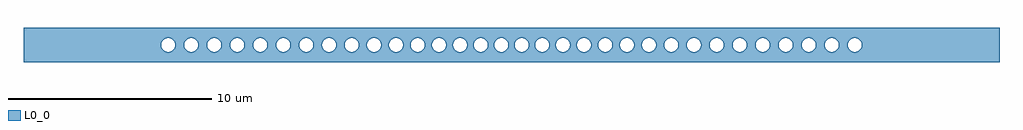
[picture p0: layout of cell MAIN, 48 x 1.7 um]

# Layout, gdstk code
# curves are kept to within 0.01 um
import gdstk
lib = gdstk.Library(unit=1e-6, precision=1e-09)
def P(c, l, *ps):  # polygons
    for p in ps: c.add(gdstk.Polygon(p, *l))
L0_0 = (0, 0)

main = lib.new_cell('MAIN')
P(main, L0_0, [(-16.917,-0.352),(-17.039,-0.318),(-17.144,-0.239),(-17.144,-0.85),(-16.917,-0.85)],
  [(-16.906,0.353),(-16.776,0.337),(-16.66,0.274),(-16.58,0.182),(-16.535,0.058),(-16.535,0.85),(-16.917,0.85),(-16.917,0.352)],
  [(-16.535,-0.058),(-16.58,-0.182),(-16.66,-0.274),(-16.776,-0.337),(-16.917,-0.352),(-16.917,-0.85),(-16.535,-0.85)],
  [(24,0.85),(17.146,0.85),(17.146,0.237),(17.207,0.144),(17.237,0.021),(17.215,-0.125),(17.146,-0.237),(17.146,-0.85),(24,-0.85)],
  [(-15.837,0.343),(-15.705,0.351),(-15.594,0.317),(-15.496,0.245),(-15.421,0.125),(-15.421,0.85),(-15.847,0.85),(-15.847,0.34)],
  [(-15.421,-0.125),(-15.496,-0.245),(-15.594,-0.317),(-15.726,-0.353),(-15.847,-0.34),(-15.847,-0.85),(-15.421,-0.85)],
  [(-16.105,0.003),(-16.087,0.112),(-16.036,0.21),(-15.948,0.294),(-15.847,0.34),(-15.847,0.85),(-16.535,0.85),(-16.53,0)],
  [(-14.769,0.32),(-14.642,0.353),(-14.511,0.337),(-14.395,0.274),(-14.316,0.182),(-14.316,0.85),(-14.779,0.85),(-14.779,0.315)],
  [(-14.316,-0.182),(-14.395,-0.274),(-14.521,-0.34),(-14.663,-0.351),(-14.779,-0.315),(-14.779,-0.85),(-14.316,-0.85)],
  [(-14.973,0.003),(-14.961,0.092),(-14.921,0.184),(-14.861,0.258),(-14.779,0.315),(-14.779,0.85),(-15.421,0.85),(-15.421,0.125),(-15.398,0)],
  [(-13.692,0.288),(-13.562,0.346),(-13.441,0.351),(-13.32,0.312),(-13.225,0.237),(-13.225,0.85),(-13.7,0.85)],
  [(-13.225,-0.237),(-13.32,-0.312),(-13.451,-0.352),(-13.577,-0.342),(-13.7,-0.282),(-13.7,-0.85),(-13.225,-0.85)],
  [(-13.84,0.003),(-13.802,0.161),(-13.7,0.282),(-13.7,0.85),(-14.316,0.85),(-14.316,0.182),(-14.278,0.094),(-14.266,0)],
  [(-12.611,0.243),(-12.505,0.32),(-12.377,0.353),(-12.246,0.337),(-12.139,0.28),(-12.139,0.85),(-12.615,0.85)],
  [(-12.139,-0.28),(-12.246,-0.337),(-12.377,-0.353),(-12.505,-0.32),(-12.615,-0.239),(-12.615,-0.85),(-12.139,-0.85)],
  [(-12.708,0.003),(-12.683,0.132),(-12.615,0.239),(-12.615,0.85),(-13.225,0.85),(-13.225,0.237),(-13.152,0.115),(-13.133,0)],
  [(-11.521,0.188),(-11.432,0.285),(-11.313,0.342),(-11.176,0.351),(-11.065,0.317),(-11.065,0.85),(-11.524,0.85)],
  [(-11.065,-0.317),(-11.176,-0.351),(-11.313,-0.342),(-11.432,-0.285),(-11.524,-0.184),(-11.524,-0.85),(-11.065,-0.85)],
  [(-11.576,0.003),(-11.564,0.092),(-11.524,0.184),(-11.524,0.85),(-12.139,0.85),(-12.139,0.28),(-12.036,0.154),(-12.001,0)],
  [(-10.421,0.132),(-10.346,0.247),(-10.243,0.32),(-10.115,0.353),(-9.994,0.34),(-9.994,0.85),(-10.423,0.85)],
  [(-9.994,-0.34),(-10.115,-0.353),(-10.243,-0.32),(-10.346,-0.247),(-10.423,-0.127),(-10.423,-0.85),(-9.994,-0.85)],
  [(-10.446,0.003),(-10.423,0.127),(-10.423,0.85),(-11.065,0.85),(-11.065,0.317),(-10.998,0.274),(-10.93,0.2),(-10.884,0.104),(-10.869,0)],
  [(-9.317,0.066),(-9.283,0.166),(-9.188,0.279),(-9.061,0.342),(-8.94,0.352),(-8.94,0.85),(-9.318,0.85)],
  [(-8.94,-0.352),(-9.061,-0.342),(-9.188,-0.279),(-9.283,-0.166),(-9.318,-0.061),(-9.318,-0.85),(-8.94,-0.85)],
  [(-9.324,0.003),(-9.318,0.85),(-9.994,0.85),(-9.994,0.34),(-9.894,0.293),(-9.813,0.217),(-9.758,0.115),(-9.739,0)],
  [(-8.212,0.003),(-8.189,0.127),(-8.116,0.243),(-8.014,0.318),(-7.892,0.352),(-7.892,0.85),(-8.617,0.85),(-8.617,-0.003)],
  [(-7.892,-0.352),(-8.014,-0.318),(-8.116,-0.243),(-8.183,-0.142),(-8.212,-0.003),(-8.617,-0.003),(-8.617,-0.85),(-7.892,-0.85)],
  [(-7.881,0.353),(-7.75,0.337),(-7.635,0.274),(-7.555,0.182),(-7.511,0.063),(-7.511,0.85),(-7.892,0.85),(-7.892,0.352)],
  [(-7.511,-0.063),(-7.555,-0.182),(-7.656,-0.29),(-7.776,-0.344),(-7.892,-0.352),(-7.892,-0.85),(-7.511,-0.85)],
  [(-8.617,0.85),(-8.94,0.85),(-8.94,0.352),(-8.813,0.317),(-8.711,0.241),(-8.637,0.12),(-8.617,0)],
  [(-6.846,0.343),(-6.715,0.351),(-6.594,0.312),(-6.509,0.249),(-6.43,0.125),(-6.43,0.85),(-6.856,0.85),(-6.856,0.34)],
  [(-6.43,-0.125),(-6.509,-0.249),(-6.594,-0.312),(-6.715,-0.351),(-6.856,-0.34),(-6.856,-0.85),(-6.43,-0.85)],
  [(-7.114,0.003),(-7.093,0.122),(-7.039,0.219),(-6.944,0.303),(-6.856,0.34),(-6.856,0.85),(-7.511,0.85),(-7.505,0)],
  [(-5.829,0.32),(-5.701,0.353),(-5.57,0.337),(-5.455,0.274),(-5.378,0.186),(-5.378,0.85),(-5.838,0.85)],
  [(-5.378,-0.186),(-5.455,-0.274),(-5.57,-0.337),(-5.701,-0.353),(-5.838,-0.315),(-5.838,-0.85),(-5.378,-0.85)],
  [(-6.032,0.003),(-6.019,0.097),(-5.975,0.193),(-5.921,0.258),(-5.838,0.315),(-5.838,0.85),(-6.43,0.85),(-6.43,0.125),(-6.407,0)],
  [(-4.818,0.288),(-4.688,0.346),(-4.567,0.351),(-4.446,0.312),(-4.351,0.237),(-4.351,0.85),(-4.826,0.85)],
  [(-4.351,-0.237),(-4.446,-0.312),(-4.577,-0.352),(-4.714,-0.339),(-4.826,-0.282),(-4.826,-0.85),(-4.351,-0.85)],
  [(-4.966,0.003),(-4.928,0.161),(-4.826,0.282),(-4.826,0.85),(-5.378,0.85),(-5.378,0.186),(-5.336,0.089),(-5.325,0)],
  [(-3.824,0.239),(-3.719,0.318),(-3.586,0.353),(-3.455,0.337),(-3.348,0.28),(-3.348,0.85),(-3.828,0.85)],
  [(-3.348,-0.28),(-3.455,-0.337),(-3.597,-0.352),(-3.719,-0.318),(-3.828,-0.235),(-3.828,-0.85),(-3.348,-0.85)],
  [(-3.917,0.003),(-3.894,0.127),(-3.828,0.235),(-3.828,0.85),(-4.351,0.85),(-4.351,0.237),(-4.278,0.115),(-4.259,0)],
  [(-2.829,0.188),(-2.748,0.279),(-2.631,0.339),(-2.505,0.353),(-2.373,0.317),(-2.373,0.85),(-2.832,0.85)],
  [(-2.373,-0.317),(-2.505,-0.353),(-2.631,-0.339),(-2.748,-0.279),(-2.832,-0.184),(-2.832,-0.85),(-2.373,-0.85)],
  [(-2.883,0.003),(-2.873,0.087),(-2.832,0.184),(-2.832,0.85),(-3.348,0.85),(-3.348,0.28),(-3.245,0.154),(-3.21,0)],
  [(-1.84,0.127),(-1.778,0.231),(-1.665,0.318),(-1.532,0.353),(-1.412,0.34),(-1.412,0.85),(-1.842,0.85)],
  [(-1.412,-0.34),(-1.532,-0.353),(-1.665,-0.318),(-1.778,-0.231),(-1.842,-0.122),(-1.842,-0.85),(-1.412,-0.85)],
  [(-1.863,0.003),(-1.842,0.122),(-1.842,0.85),(-2.373,0.85),(-2.373,0.317),(-2.29,0.26),(-2.232,0.191),(-2.195,0.115),(-2.176,0)],
  [(-0.848,0.066),(-0.803,0.184),(-0.719,0.279),(-0.602,0.339),(-0.47,0.352),(-0.47,0.85),(-0.849,0.85)],
  [(-0.47,-0.352),(-0.602,-0.339),(-0.719,-0.279),(-0.806,-0.179),(-0.849,-0.061),(-0.849,-0.85),(-0.47,-0.85)],
  [(-0.854,0.003),(-0.849,0.85),(-1.412,0.85),(-1.412,0.34),(-1.311,0.293),(-1.227,0.213),(-1.175,0.115),(-1.156,0)],
  [(0.147,0.003),(0.167,0.117),(0.24,0.239),(0.346,0.318),(0.468,0.352),(0.468,0.85),(-0.147,0.85),(-0.147,-0.003)],
  [(0.468,-0.352),(0.346,-0.318),(0.24,-0.239),(0.167,-0.117),(0.147,-0.003),(-0.147,-0.003),(-0.147,-0.85),(0.468,-0.85)],
  [(0.478,0.353),(0.609,0.337),(0.725,0.274),(0.799,0.191),(0.849,0.063),(0.849,0.85),(0.468,0.85),(0.468,0.352)],
  [(0.849,-0.063),(0.799,-0.191),(0.704,-0.29),(0.584,-0.344),(0.468,-0.352),(0.468,-0.85),(0.849,-0.85)],
  [(-0.147,0.85),(-0.47,0.85),(-0.47,0.352),(-0.348,0.319),(-0.242,0.241),(-0.166,0.115),(-0.147,0)],
  [(1.42,0.342),(1.556,0.351),(1.677,0.312),(1.769,0.241),(1.841,0.125),(1.841,0.85),(1.409,0.85),(1.409,0.339)],
  [(1.841,-0.125),(1.769,-0.241),(1.667,-0.317),(1.535,-0.353),(1.409,-0.339),(1.409,-0.85),(1.841,-0.85)],
  [(1.156,0.003),(1.176,0.117),(1.232,0.219),(1.309,0.291),(1.409,0.339),(1.409,0.85),(0.849,0.85),(0.854,0)],
  [(2.38,0.32),(2.507,0.353),(2.628,0.34),(2.754,0.274),(2.83,0.186),(2.83,0.85),(2.37,0.85),(2.37,0.315)],
  [(2.83,-0.186),(2.754,-0.274),(2.628,-0.34),(2.486,-0.351),(2.37,-0.315),(2.37,-0.85),(2.83,-0.85)],
  [(2.176,0.003),(2.188,0.092),(2.228,0.184),(2.288,0.258),(2.37,0.315),(2.37,0.85),(1.841,0.85),(1.841,0.125),(1.863,0)],
  [(3.354,0.285),(3.473,0.342),(3.61,0.351),(3.74,0.307),(3.826,0.237),(3.826,0.85),(3.346,0.85)],
  [(3.826,-0.237),(3.721,-0.317),(3.589,-0.353),(3.453,-0.336),(3.346,-0.279),(3.346,-0.85),(3.826,-0.85)],
  [(3.21,0.003),(3.246,0.156),(3.346,0.279),(3.346,0.85),(2.83,0.85),(2.83,0.186),(2.871,0.094),(2.883,0)],
  [(4.352,0.239),(4.458,0.318),(4.59,0.353),(4.711,0.34),(4.824,0.283),(4.824,0.85),(4.349,0.85)],
  [(4.824,-0.283),(4.711,-0.34),(4.569,-0.351),(4.448,-0.313),(4.349,-0.235),(4.349,-0.85),(4.824,-0.85)],
  [(4.259,0.003),(4.279,0.117),(4.349,0.235),(4.349,0.85),(3.826,0.85),(3.826,0.237),(3.895,0.125),(3.917,0)],
  [(5.38,0.188),(5.469,0.285),(5.588,0.342),(5.725,0.351),(5.836,0.317),(5.836,0.85),(5.377,0.85)],
  [(5.836,-0.317),(5.725,-0.351),(5.588,-0.342),(5.469,-0.285),(5.377,-0.184),(5.377,-0.85),(5.836,-0.85)],
  [(5.325,0.003),(5.337,0.092),(5.377,0.184),(5.377,0.85),(4.824,0.85),(4.824,0.283),(4.886,0.225),(4.934,0.149),(4.966,0)],
  [(6.431,0.127),(6.5,0.239),(6.596,0.313),(6.717,0.351),(6.854,0.341),(6.854,0.85),(6.429,0.85)],
  [(6.854,-0.341),(6.717,-0.351),(6.596,-0.313),(6.486,-0.223),(6.429,-0.122),(6.429,-0.85),(6.854,-0.85)],
  [(6.407,0.003),(6.429,0.122),(6.429,0.85),(5.836,0.85),(5.836,0.317),(5.919,0.26),(5.982,0.182),(6.021,0.089),(6.032,0)],
  [(7.511,0.066),(7.551,0.175),(7.641,0.279),(7.768,0.342),(7.889,0.352),(7.889,0.85),(7.51,0.85)],
  [(7.889,-0.352),(7.768,-0.342),(7.641,-0.279),(7.551,-0.175),(7.51,-0.061),(7.51,-0.85),(7.889,-0.85)],
  [(8.212,0.85),(7.889,0.85),(7.889,0.352),(8.016,0.317),(8.114,0.245),(8.19,0.125),(8.212,0.003)],
  [(8.212,-0.003),(8.19,-0.125),(8.114,-0.245),(8.016,-0.317),(7.889,-0.352),(7.889,-0.85),(8.212,-0.85)],
  [(8.617,0.003),(8.638,0.122),(8.713,0.243),(8.815,0.318),(8.937,0.352),(8.937,0.85),(8.212,0.85),(8.212,-0.003)],
  [(8.937,-0.352),(8.815,-0.318),(8.713,-0.243),(8.648,-0.147),(8.617,-0.003),(8.212,-0.003),(8.212,-0.85),(8.937,-0.85)],
  [(8.948,0.353),(9.078,0.337),(9.194,0.274),(9.279,0.173),(9.318,0.063),(9.318,0.85),(8.937,0.85),(8.937,0.352)],
  [(9.318,-0.063),(9.268,-0.191),(9.173,-0.29),(9.053,-0.344),(8.937,-0.352),(8.937,-0.85),(9.318,-0.85)],
  [(7.505,0.003),(7.51,0.85),(6.854,0.85),(6.854,0.341),(6.964,0.29),(7.047,0.208),(7.094,0.12),(7.114,0)],
  [(10.002,0.342),(10.139,0.351),(10.25,0.317),(10.348,0.245),(10.422,0.129),(10.422,0.85),(9.992,0.85),(9.992,0.339)],
  [(10.422,-0.129),(10.348,-0.245),(10.25,-0.317),(10.118,-0.353),(9.992,-0.339),(9.992,-0.85),(10.422,-0.85)],
  [(9.739,0.003),(9.757,0.112),(9.808,0.21),(9.883,0.285),(9.992,0.339),(9.992,0.85),(9.318,0.85),(9.324,0)],
  [(11.072,0.32),(11.2,0.353),(11.32,0.34),(11.425,0.29),(11.523,0.186),(11.523,0.85),(11.063,0.85)],
  [(11.523,-0.186),(11.425,-0.29),(11.32,-0.34),(11.189,-0.352),(11.063,-0.315),(11.063,-0.85),(11.523,-0.85)],
  [(10.869,0.003),(10.879,0.087),(10.92,0.184),(10.98,0.258),(11.063,0.315),(11.063,0.85),(10.422,0.85),(10.422,0.129),(10.446,0)],
  [(12.145,0.285),(12.264,0.342),(12.38,0.353),(12.512,0.317),(12.613,0.241),(12.613,0.85),(12.137,0.85)],
  [(12.613,-0.241),(12.512,-0.317),(12.38,-0.353),(12.244,-0.336),(12.137,-0.279),(12.137,-0.85),(12.613,-0.85)],
  [(12.001,0.003),(12.037,0.156),(12.137,0.279),(12.137,0.85),(11.523,0.85),(11.523,0.186),(11.562,0.099),(11.576,0)],
  [(13.226,0.239),(13.332,0.318),(13.464,0.353),(13.585,0.34),(13.698,0.283),(13.698,0.85),(13.223,0.85)],
  [(13.698,-0.283),(13.585,-0.34),(13.443,-0.351),(13.322,-0.313),(13.223,-0.235),(13.223,-0.85),(13.698,-0.85)],
  [(13.133,0.003),(13.153,0.117),(13.223,0.235),(13.223,0.85),(12.613,0.85),(12.613,0.241),(12.684,0.129),(12.708,0)],
  [(14.317,0.184),(14.401,0.279),(14.508,0.336),(14.644,0.353),(14.776,0.317),(14.776,0.85),(14.315,0.85)],
  [(14.776,-0.317),(14.644,-0.353),(14.508,-0.336),(14.401,-0.279),(14.315,-0.179),(14.315,-0.85),(14.776,-0.85)],
  [(14.266,0.003),(14.276,0.087),(14.315,0.179),(14.315,0.85),(13.698,0.85),(13.698,0.283),(13.798,0.168),(13.828,0.094),(13.84,0)],
  [(15.422,0.127),(15.487,0.235),(15.587,0.313),(15.708,0.351),(15.844,0.341),(15.844,0.85),(15.42,0.85)],
  [(15.844,-0.341),(15.708,-0.351),(15.587,-0.313),(15.48,-0.227),(15.42,-0.122),(15.42,-0.85),(15.844,-0.85)],
  [(15.398,0.003),(15.42,0.122),(15.42,0.85),(14.776,0.85),(14.776,0.317),(14.859,0.26),(14.917,0.191),(14.954,0.115),(14.973,0)],
  [(16.535,0.061),(16.576,0.175),(16.666,0.279),(16.793,0.342),(16.914,0.352),(16.914,0.85),(16.535,0.85)],
  [(16.914,-0.352),(16.793,-0.342),(16.666,-0.279),(16.576,-0.175),(16.535,-0.055),(16.535,-0.85),(16.914,-0.85)],
  [(-17.144,-0.239),(-17.208,-0.142),(-17.237,-0.019),(-17.216,0.122),(-17.144,0.239),(-17.144,0.85),(-24,0.85),(-24,-0.85),(-17.144,-0.85)],
  [(-17.141,0.243),(-17.039,0.318),(-16.917,0.352),(-16.917,0.85),(-17.144,0.85)],
  [(17.146,0.85),(16.914,0.85),(16.914,0.352),(17.041,0.317),(17.146,0.237)],
  [(17.146,-0.237),(17.041,-0.317),(16.914,-0.352),(16.914,-0.85),(17.146,-0.85)],
  [(-15.847,-0.34),(-15.948,-0.294),(-16.036,-0.21),(-16.087,-0.112),(-16.105,0),(-16.53,0),(-16.535,-0.85),(-15.847,-0.85)],
  [(-14.779,-0.315),(-14.861,-0.258),(-14.921,-0.184),(-14.961,-0.092),(-14.973,0),(-15.398,0),(-15.421,-0.125),(-15.421,-0.85),(-14.779,-0.85)],
  [(-13.7,-0.282),(-13.765,-0.219),(-13.809,-0.147),(-13.84,0),(-14.266,0),(-14.278,-0.094),(-14.316,-0.182),(-14.316,-0.85),(-13.7,-0.85)],
  [(-12.615,-0.239),(-12.683,-0.132),(-12.708,0),(-13.133,0),(-13.152,-0.115),(-13.225,-0.237),(-13.225,-0.85),(-12.615,-0.85)],
  [(-11.524,-0.184),(-11.564,-0.092),(-11.576,0),(-12.001,0),(-12.036,-0.154),(-12.139,-0.28),(-12.139,-0.85),(-11.524,-0.85)],
  [(-10.423,-0.127),(-10.446,0),(-10.869,0),(-10.884,-0.104),(-10.93,-0.2),(-10.998,-0.274),(-11.065,-0.317),(-11.065,-0.85),(-10.423,-0.85)],
  [(-9.318,-0.061),(-9.324,0),(-9.739,0),(-9.756,-0.109),(-9.81,-0.213),(-9.894,-0.293),(-9.994,-0.34),(-9.994,-0.85),(-9.318,-0.85)],
  [(-8.617,0),(-8.637,-0.12),(-8.711,-0.241),(-8.813,-0.317),(-8.94,-0.352),(-8.94,-0.85),(-8.617,-0.85)],
  [(-6.856,-0.34),(-6.944,-0.303),(-7.039,-0.219),(-7.093,-0.122),(-7.114,0),(-7.505,0),(-7.511,-0.85),(-6.856,-0.85)],
  [(-5.838,-0.315),(-5.921,-0.258),(-5.975,-0.193),(-6.019,-0.097),(-6.032,0),(-6.407,0),(-6.43,-0.125),(-6.43,-0.85),(-5.838,-0.85)],
  [(-4.826,-0.282),(-4.891,-0.219),(-4.935,-0.147),(-4.966,0),(-5.325,0),(-5.336,-0.089),(-5.378,-0.186),(-5.378,-0.85),(-4.826,-0.85)],
  [(-3.828,-0.235),(-3.894,-0.127),(-3.917,0),(-4.259,0),(-4.278,-0.115),(-4.351,-0.237),(-4.351,-0.85),(-3.828,-0.85)],
  [(-2.832,-0.184),(-2.873,-0.087),(-2.883,0),(-3.21,0),(-3.245,-0.154),(-3.348,-0.28),(-3.348,-0.85),(-2.832,-0.85)],
  [(-1.842,-0.122),(-1.863,0),(-2.176,0),(-2.195,-0.115),(-2.232,-0.191),(-2.29,-0.26),(-2.373,-0.317),(-2.373,-0.85),(-1.842,-0.85)],
  [(-0.849,-0.061),(-0.854,0),(-1.156,0),(-1.175,-0.115),(-1.227,-0.213),(-1.311,-0.293),(-1.412,-0.34),(-1.412,-0.85),(-0.849,-0.85)],
  [(-0.147,0),(-0.166,-0.115),(-0.242,-0.241),(-0.348,-0.319),(-0.47,-0.352),(-0.47,-0.85),(-0.147,-0.85)],
  [(1.409,-0.339),(1.309,-0.291),(1.229,-0.215),(1.176,-0.117),(1.156,0),(0.854,0),(0.849,-0.85),(1.409,-0.85)],
  [(2.37,-0.315),(2.288,-0.258),(2.228,-0.184),(2.188,-0.092),(2.176,0),(1.863,0),(1.841,-0.125),(1.841,-0.85),(2.37,-0.85)],
  [(3.346,-0.279),(3.246,-0.156),(3.21,0),(2.883,0),(2.871,-0.094),(2.83,-0.186),(2.83,-0.85),(3.346,-0.85)],
  [(4.349,-0.235),(4.279,-0.117),(4.259,0),(3.917,0),(3.895,-0.125),(3.826,-0.237),(3.826,-0.85),(4.349,-0.85)],
  [(5.377,-0.184),(5.337,-0.092),(5.325,0),(4.966,0),(4.934,-0.149),(4.886,-0.225),(4.824,-0.283),(4.824,-0.85),(5.377,-0.85)],
  [(6.429,-0.122),(6.407,0),(6.032,0),(6.021,-0.089),(5.982,-0.182),(5.919,-0.26),(5.836,-0.317),(5.836,-0.85),(6.429,-0.85)],
  [(7.51,-0.061),(7.505,0),(7.114,0),(7.094,-0.12),(7.047,-0.208),(6.964,-0.29),(6.854,-0.341),(6.854,-0.85),(7.51,-0.85)],
  [(9.992,-0.339),(9.883,-0.285),(9.802,-0.202),(9.757,-0.112),(9.739,0),(9.324,0),(9.318,-0.85),(9.992,-0.85)],
  [(11.063,-0.315),(10.98,-0.258),(10.92,-0.184),(10.879,-0.087),(10.869,0),(10.446,0),(10.422,-0.129),(10.422,-0.85),(11.063,-0.85)],
  [(12.137,-0.279),(12.037,-0.156),(12.001,0),(11.576,0),(11.562,-0.099),(11.523,-0.186),(11.523,-0.85),(12.137,-0.85)],
  [(13.223,-0.235),(13.153,-0.117),(13.133,0),(12.708,0),(12.684,-0.129),(12.613,-0.241),(12.613,-0.85),(13.223,-0.85)],
  [(14.315,-0.179),(14.276,-0.087),(14.266,0),(13.84,0),(13.833,-0.074),(13.798,-0.168),(13.698,-0.283),(13.698,-0.85),(14.315,-0.85)],
  [(15.42,-0.122),(15.398,0),(14.973,0),(14.954,-0.115),(14.917,-0.191),(14.859,-0.26),(14.776,-0.317),(14.776,-0.85),(15.42,-0.85)],
  [(16.535,-0.055),(16.53,0),(16.105,0),(16.086,-0.115),(16.031,-0.217),(15.946,-0.296),(15.844,-0.341),(15.844,-0.85),(16.535,-0.85)],
  [(16.53,0.003),(16.535,0.85),(15.844,0.85),(15.844,0.341),(15.946,0.296),(16.031,0.217),(16.086,0.115),(16.105,0)])

lib.write_gds('MAIN.gds')
